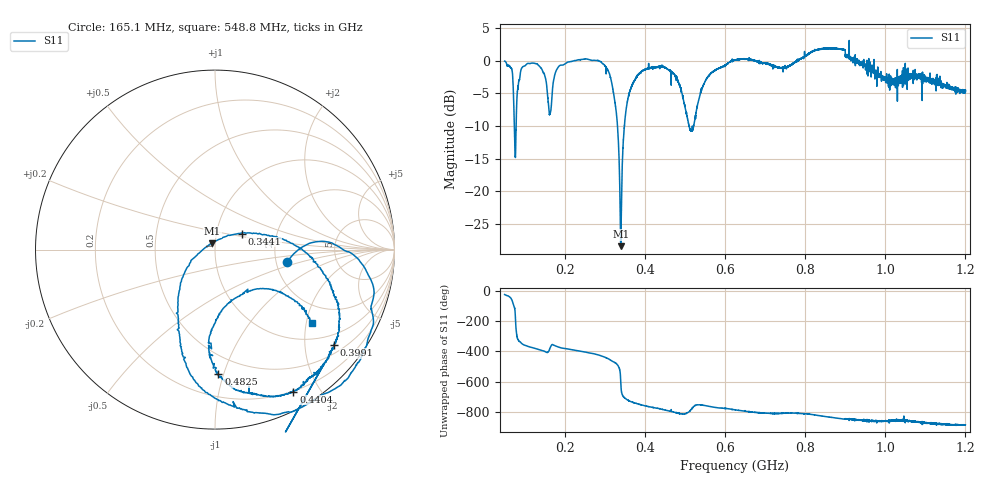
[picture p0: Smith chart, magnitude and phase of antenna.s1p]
! Calibrated high-resolution NanoVNA antenna measurement
# Hz S RI R 50
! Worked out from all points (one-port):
!   40001 points, 50 MHz to 1.2 GHz, reference 50 ohm
!   lowest |S11| = -28.4 dB at 339.9 MHz (marker M1), VSWR 1.08, Z = 48.5 + j3.43 ohm
!   |S11| at or under -10 dB: 74.16 MHz to 78.71 MHz (4.55 MHz wide, 5.95 % of centre); 331.8 MHz to 348.8 MHz (17.09 MHz wide, 5.02 % of centre); 510.6 MHz to 518.5 MHz (7.87 MHz wide, 1.53 % of centre) (the widest 3 of 10)
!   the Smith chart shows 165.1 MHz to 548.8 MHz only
!   S11 on the Smith chart (normalised r, x): 165.1 MHz: 2.30, -0.38; 344.1 MHz: 1.32, +0.24; 399.1 MHz: 0.71, -2.68; 440.4 MHz: 0.19, -1.68; 482.5 MHz: 0.36, -0.96; 548.8 MHz: 1.43, -2.15
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5e7  0.89 -0.4361
6.704875e7  0.4985 -0.7141
7.498375e7  -0.1016 -0.2276
8.37525e7  0.5183 0.3663
9.970875e7  0.9102 0.00326
1.474912e8  0.6317 -0.4921
1.65115e8  0.4025 -0.0684
1.9375e8  0.872 -0.3069
2.487775e8  0.742 -0.7151
2.944325e8  0.2705 -0.9122
3.237288e8  -0.1985 -0.4818
3.375e8  -0.0994 -0.0282
3.39915e8  -0.0144 0.0353
3.440838e8  0.148 0.0889
3.587462e8  0.5273 -0.0349
3.990538e8  0.6624 -0.5303
4.40425e8  0.4368 -0.7911
4.8125e8  0.0377 -0.7121
4.82515e8  0.0185 -0.6939
5.160088e8  0.1345 -0.257
5.48755e8  0.5393 -0.4081
6.25e8  0.4246 -0.9213
7.092375e8  0.0208 -0.9358
7.6875e8  0.0464 -0.9416
8.379225e8  -0.3241 -1.179
9.125e8  -0.6499 -0.8185
1.05625e9  -0.5763 -0.5049
1.2e9  -0.5594 -0.1501
